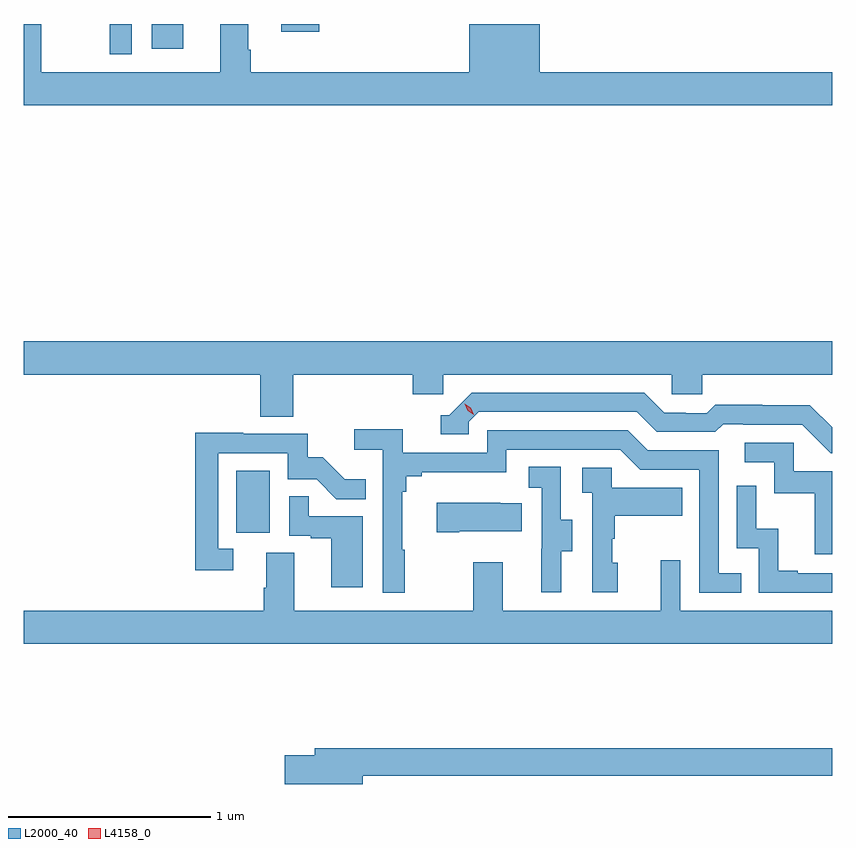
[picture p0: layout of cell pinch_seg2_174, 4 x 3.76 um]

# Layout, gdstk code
import gdstk
lib = gdstk.Library(unit=1e-6, precision=1e-09)
def R(c, l, rs):  # rectangles x0, y0, x1, y1
    for r in rs: c.add(gdstk.rectangle(r[:2], r[2:], *l))
def P(c, l, *ps):  # polygons
    for p in ps: c.add(gdstk.Polygon(p, *l))
L2000_40 = (2000, 40)
L4158_0 = (4158, 0)

pinch_seg2_174 = lib.new_cell('pinch_seg2_174')
R(pinch_seg2_174, L2000_40, [(1079.96,638.862,1080.124,639.169), (1079.334,641.229,1079.442,641.379), (1079.54,641.256,1079.698,641.379), (1080.183,641.34,1080.371,641.379)])
P(pinch_seg2_174, L2000_40, [(1082.908,641.14),(1081.462,641.14),(1081.462,641.379),(1081.112,641.379),(1081.112,641.14),(1080.032,641.14),(1080.032,641.252),(1080.019,641.252),(1080.019,641.379),(1079.879,641.379),(1079.879,641.14),(1078.995,641.14),(1078.995,641.379),(1078.908,641.379),(1078.908,640.976),(1082.908,640.976)],
  [(1080.242,639.644),(1080.833,639.644),(1080.833,639.546),(1080.984,639.546),(1080.984,639.644),(1082.115,639.644),(1082.115,639.546),(1082.265,639.546),(1082.265,639.644),(1082.908,639.644),(1082.908,639.808),(1078.908,639.808),(1078.908,639.644),(1080.077,639.644),(1080.077,639.436),(1080.242,639.436)],
  [(1082.908,639.383),(1082.798,639.493),(1082.562,639.493),(1082.562,639.496),(1082.329,639.496),(1082.287,639.453),(1082.184,639.453),(1082.184,639.456),(1082.077,639.456),(1081.978,639.555),(1081.125,639.555),(1081.014,639.444),(1080.971,639.444),(1080.971,639.348),(1081.11,639.348),(1081.11,639.411),(1081.158,639.459),(1081.941,639.459),(1082.04,639.36),(1082.329,639.36),(1082.368,639.399),(1082.467,639.399),(1082.467,639.396),(1082.76,639.396),(1082.901,639.255),(1082.908,639.255)],
  [(1080.793,638.777),(1080.781,638.777),(1080.781,639.065),(1080.8,639.065),(1080.8,639.142),(1080.877,639.142),(1080.877,639.161),(1081.296,639.161),(1081.296,639.273),(1081.86,639.273),(1081.959,639.174),(1082.25,639.174),(1082.25,638.565),(1082.459,638.565),(1082.459,638.661),(1082.346,638.661),(1082.346,639.27),(1081.996,639.27),(1081.897,639.369),(1081.2,639.369),(1081.2,639.258),(1080.782,639.258),(1080.782,639.374),(1080.543,639.374),(1080.543,639.272),(1080.684,639.272),(1080.684,638.565),(1080.793,638.565)],
  [(1079.944,638.781),(1079.871,638.781),(1079.871,639.255),(1080.213,639.255),(1080.213,639.126),(1080.357,639.126),(1080.455,639.028),(1080.599,639.028),(1080.599,639.127),(1080.495,639.127),(1080.388,639.234),(1080.312,639.234),(1080.312,639.351),(1079.993,639.351),(1079.993,639.356),(1079.755,639.356),(1079.755,638.676),(1079.944,638.676)],
  [(1082.908,639.165),(1082.718,639.165),(1082.718,639.306),(1082.475,639.306),(1082.475,639.21),(1082.622,639.21),(1082.622,639.057),(1082.821,639.057),(1082.821,638.754),(1082.908,638.754)],
  [(1081.567,638.77),(1081.621,638.77),(1081.621,638.925),(1081.566,638.925),(1081.566,639.188),(1081.407,639.188),(1081.407,639.085),(1081.47,639.085),(1081.47,638.781),(1081.469,638.781),(1081.469,638.568),(1081.567,638.568)],
  [(1081.846,638.712),(1081.821,638.712),(1081.821,638.831),(1081.831,638.831),(1081.831,638.945),(1082.165,638.945),(1082.165,639.085),(1081.818,639.085),(1081.818,639.183),(1081.671,639.183),(1081.671,639.059),(1081.722,639.059),(1081.722,638.568),(1081.846,638.568)],
  [(1082.908,638.661),(1082.737,638.661),(1082.737,638.674),(1082.642,638.674),(1082.642,638.882),(1082.532,638.882),(1082.532,639.094),(1082.436,639.094),(1082.436,638.784),(1082.544,638.784),(1082.544,638.565),(1082.908,638.565)],
  [(1080.586,638.943),(1080.317,638.943),(1080.317,639.041),(1080.222,639.041),(1080.222,638.847),(1080.329,638.847),(1080.329,638.835),(1080.428,638.835),(1080.428,638.592),(1080.586,638.592)],
  [(1081.063,638.87),(1081.373,638.87),(1081.373,639.007),(1081.265,639.007),(1081.265,639.01),(1080.951,639.01),(1080.951,638.863),(1081.063,638.863)],
  [(1082.908,638.476),(1082.157,638.476),(1082.157,638.725),(1082.06,638.725),(1082.06,638.476),(1081.279,638.476),(1081.279,638.716),(1081.132,638.716),(1081.132,638.476),(1080.247,638.476),(1080.247,638.762),(1080.107,638.762),(1080.107,638.588),(1080.095,638.588),(1080.095,638.476),(1078.908,638.476),(1078.908,638.312),(1082.908,638.312)],
  [(1080.586,637.66),(1082.908,637.66),(1082.908,637.796),(1080.347,637.796),(1080.347,637.76),(1080.198,637.76),(1080.198,637.618),(1080.586,637.618)])
P(pinch_seg2_174, L4158_0, [(1081.135,639.446),(1081.105,639.466),(1081.089,639.499),(1081.089,639.499),(1081.09,639.499),(1081.12,639.479),(1081.135,639.446),(1081.135,639.446)])

lib.write_gds('pinch_seg2_174.gds')
